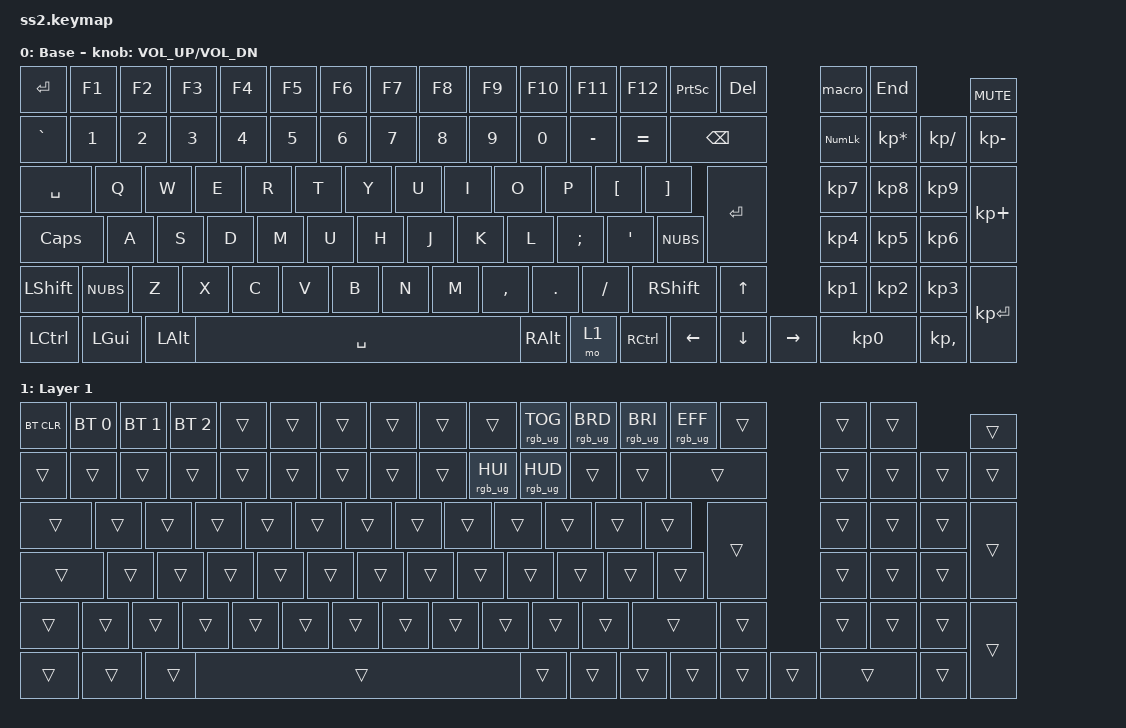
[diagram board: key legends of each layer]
#include <behaviors.dtsi>
#include <dt-bindings/zmk/keys.h>
#include <dt-bindings/zmk/ext_power.h>
#include <dt-bindings/zmk/bt.h>
#include <dt-bindings/zmk/rgb.h>

/ {
    macros {
        macro: macro {
            compatible = "zmk,behavior-macro";
            #binding-cells = <0>;
            bindings = <&macro_tap>;
        };
    };

    keymap {
        compatible = "zmk,keymap";

        default_layer {
            display-name = "Base";
            // | ENTER | F1   | F2 |     | F3 | F4 | F5 |   | F6  | F7 | F8 |   | F9 | F10   | F11     | F12  | PSCRN | DEL   |       | MACRO  | END         |          | C_MUTE   |
            // | `     | 1    | 2  |     | 3  | 4  | 5  |   | 6   | 7  | 8  |   | 9  | 0     | -       | =    |       | BSPC  |       | KP_NUM | KP_MULTIPLY | KP_SLASH | KP_MINUS |
            // | SPC   |      | Q  | W   | E  |    | R  | T | Y   |    | U  | I | O  |       | P       | [    | ]     | ENTER |       | KP_N7  | KP_N8       | KP_N9    | KP_PLUS  |
            // | CAPS  |      | A  | S   |    | D  | M  | U |     | H  | J  | K |    | L     | ;       | '    | NUBS  |               | KP_N4  | KP_N5       | KP_N6    |
            // | SHIFT | NUBS |    | Z   | X  | C  |    | V | B   | N  |    | M | ,  | .     |         | FSLH | SHIFT | UP    |       | KP_N1  | KP_N2       | KP_N3    | KP_ENTER |
            // | CTRL  | GUI  |    | ALT |                  | SPC |                  | ALTGR | Layer 1 | CTRL | LEFT  | DOWN  | RIGHT | KP_N0  |             | KP_COMMA |
            bindings = <
                &kp RET    &kp F1    &kp F2            &kp F3  &kp F4  &kp F5         &kp F6     &kp F7  &kp F8         &kp F9     &kp F10   &kp F11    &kp F12    &kp PSCRN  &kp DEL              &macro      &kp END                        &kp C_MUTE
                &kp GRAVE  &kp N1    &kp N2            &kp N3  &kp N4  &kp N5         &kp N6     &kp N7  &kp N8         &kp N9     &kp N0    &kp MINUS  &kp EQUAL             &kp BSPC             &kp KP_NUM  &kp KP_MULTIPLY  &kp KP_SLASH  &kp KP_MINUS
                &kp SPACE            &kp Q   &kp W     &kp E           &kp R   &kp T  &kp Y              &kp U   &kp I  &kp O                &kp P      &kp LBKT   &kp RBKT   &kp RET              &kp KP_N7   &kp KP_N8        &kp KP_N9     &kp KP_PLUS
                &kp CAPS             &kp A   &kp S             &kp D   &kp M   &kp U             &kp H   &kp J   &kp K             &kp L     &kp SEMI   &kp SQT    &kp NUBS                        &kp KP_N4   &kp KP_N5        &kp KP_N6
                &kp LSHFT  &kp NUBS          &kp Z     &kp X   &kp C           &kp V  &kp B      &kp N           &kp M  &kp COMMA  &kp DOT              &kp FSLH   &kp RSHFT  &kp UP               &kp KP_N1   &kp KP_N2        &kp KP_N3     &kp KP_ENTER
                &kp LCTRL  &kp LGUI          &kp LALT                                 &kp SPACE                                    &kp RALT  &mo 1      &kp RCTRL  &kp LEFT   &kp DOWN  &kp RIGHT  &kp KP_N0                    &kp KP_COMMA
            >;

            sensor-bindings = <&inc_dec_kp C_VOL_UP C_VOL_DN>;
        };

        layer_1 {
            display-name = "Layer 1";
            // | BTCLR | BT1 | BT2 |   | BT3 |   |   |   |   |   |   |   |                | RGB_UG RGB_TOG | RGB_UG RGB_BRD | RGB_UG RGB_BRI | RGB_UG RGB_EFF |   |   |   |   |   |   |
            // |       |     |     |   |     |   |   |   |   |   |   |   | RGB_UG RGB_HUI | RGB_UG RGB_HUD |                |                |                |   |   |   |   |   |   |
            // |       |     |     |   |     |   |   |   |   |   |   |   |                |                |                |                |                |   |   |   |   |   |   |
            // |       |     |     |   |     |   |   |   |   |   |   |   |                |                |                |                |                |       |   |   |   |
            // |       |     |     |   |     |   |   |   |   |   |   |   |                |                |                |                |                |   |   |   |   |   |   |
            // |       |     |     |   |                 |   |                            |                |                |                |                |   |   |   |   |   |
            bindings = <
                &bt BT_CLR  &bt BT_SEL 0  &bt BT_SEL 1          &bt BT_SEL 2  &trans  &trans          &trans  &trans  &trans          &trans           &rgb_ug RGB_TOG  &rgb_ug RGB_BRD  &rgb_ug RGB_BRI  &rgb_ug RGB_EFF  &trans          &trans  &trans          &trans
                &trans      &trans        &trans                &trans        &trans  &trans          &trans  &trans  &trans          &rgb_ug RGB_HUI  &rgb_ug RGB_HUD  &trans           &trans                            &trans          &trans  &trans  &trans  &trans
                &trans                    &trans        &trans  &trans                &trans  &trans  &trans          &trans  &trans  &trans                            &trans           &trans           &trans           &trans          &trans  &trans  &trans  &trans
                &trans                    &trans        &trans                &trans  &trans  &trans          &trans  &trans  &trans                   &trans           &trans           &trans           &trans                           &trans  &trans  &trans
                &trans      &trans                      &trans  &trans        &trans          &trans  &trans  &trans          &trans  &trans           &trans                            &trans           &trans           &trans          &trans  &trans  &trans  &trans
                &trans      &trans                      &trans                                        &trans                                           &trans           &trans           &trans           &trans           &trans  &trans  &trans          &trans
            >;
        };

        extra_1 {
            status = "reserved";
        };

        extra_2 {
            status = "reserved";
        };
    };
};
